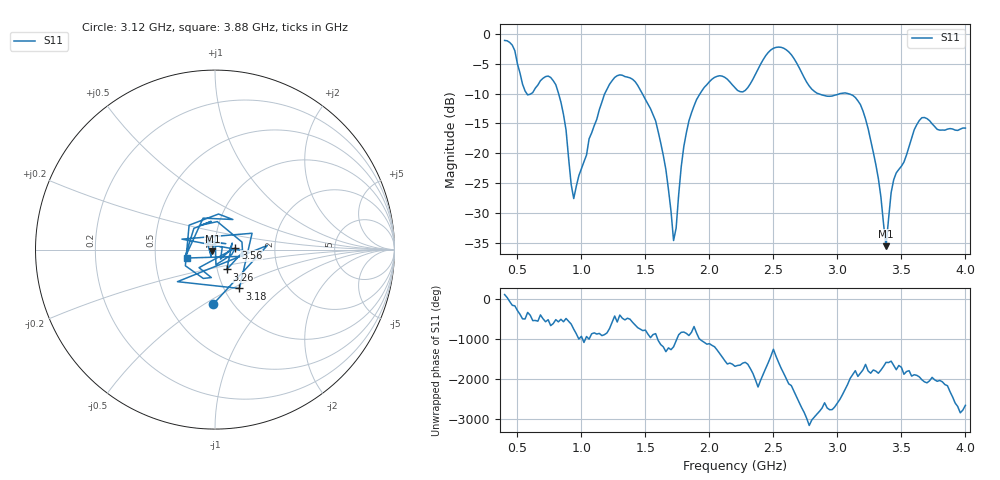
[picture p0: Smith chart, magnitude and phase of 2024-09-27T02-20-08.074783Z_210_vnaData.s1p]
!Created with skrf (http://scikit-rf.org).
# Hz S RI R 50.0
!freq ReS11 ImS11
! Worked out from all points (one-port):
!   181 points, 400 MHz to 4 GHz, reference 50 ohm
!   lowest |S11| = -35.5 dB at 3.38 GHz (marker M1), VSWR 1.03, Z = 48.6 - j0.889 ohm
!   |S11| at or under -10 dB: 821.4 MHz to 1.183 GHz (361.7 MHz wide, 36.1 % of centre); 1.475 GHz to 1.928 GHz (452.7 MHz wide, 26.6 % of centre); 3.08 GHz to end of sweep (the widest 3 of 5)
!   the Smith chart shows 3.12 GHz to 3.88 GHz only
!   S11 on the Smith chart (normalised r, x): 3.12 GHz: 0.81, -0.55; 3.18 GHz: 1.18, -0.54; 3.26 GHz: 1.11, -0.25; 3.56 GHz: 1.26, +0.02; 3.88 GHz: 0.73, -0.07
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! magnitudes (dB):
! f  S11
! 400 MHz  -1.1
! 580 MHz  -10.2
! 760 MHz  -7.3
! 860 MHz  -13.5
! 940 MHz  -27.6
! 1.18 GHz  -10.1
! 1.3 GHz  -6.9
! 1.58 GHz  -14.6
! 1.66 GHz  -22.7
! 1.72 GHz  -34.6
! 1.76 GHz  -26.9
! 1.82 GHz  -16.6
! 1.9 GHz  -11.0
! 2.06 GHz  -7.1
! 2.2 GHz  -9.0
! 2.5 GHz  -2.4
! 2.66 GHz  -4.1
! 2.84 GHz  -9.9
! 3.1 GHz  -10.1
! 3.12 GHz  -10.3
! 3.18 GHz  -11.9
! 3.26 GHz  -17.8
! 3.38 GHz  -35.5
! 3.44 GHz  -24.4
! 3.56 GHz  -18.9
! 3.66 GHz  -14.0
! 3.88 GHz  -15.9
! 4 GHz  -15.8
